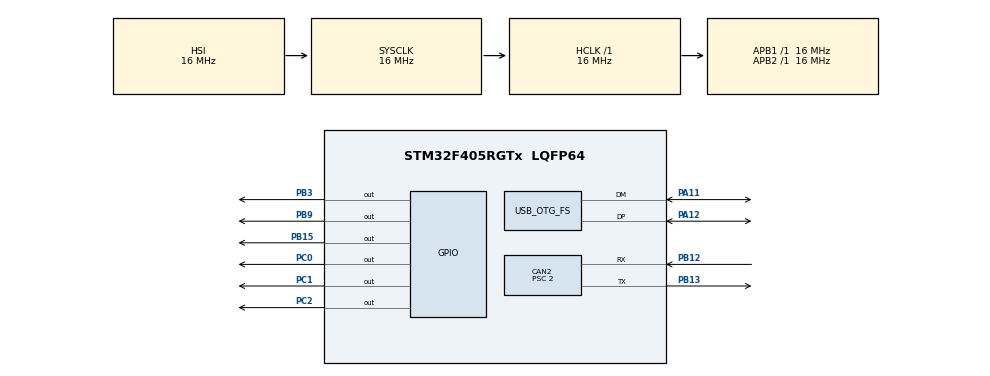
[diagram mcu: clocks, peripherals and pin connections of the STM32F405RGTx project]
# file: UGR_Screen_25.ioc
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CAN2.BS1=CAN_BS1_13TQ
CAN2.BS2=CAN_BS2_2TQ
CAN2.CalculateBaudRate=500000
CAN2.CalculateTimeBit=2000
CAN2.CalculateTimeQuantum=125.0
CAN2.Mode=CAN_MODE_LOOPBACK
CAN2.NART=ENABLE
CAN2.Prescaler=2
Mcu.Family=STM32F4
Mcu.Name=STM32F405RGTx
Mcu.Package=LQFP64
NVIC.CAN2_RX0_IRQn=true\:0\:0\:false\:false\:true\:true\:true\:true
NVIC.CAN2_RX1_IRQn=true\:0\:0\:false\:false\:true\:true\:true\:true
NVIC.CAN2_TX_IRQn=true\:0\:0\:false\:false\:true\:true\:true\:true
NVIC.PriorityGroup=NVIC_PRIORITYGROUP_4
PA11.Mode=Host_Only
PA11.Signal=USB_OTG_FS_DM
PA12.Mode=Host_Only
PA12.Signal=USB_OTG_FS_DP
PA13.Mode=Serial_Wire
PA13.Signal=SYS_JTMS-SWDIO
PA14.Mode=Serial_Wire
PA14.Signal=SYS_JTCK-SWCLK
PB12.GPIO_PuPd=GPIO_NOPULL
PB12.Mode=CAN_Activate
PB12.Signal=CAN2_RX
PB13.Mode=CAN_Activate
PB13.Signal=CAN2_TX
PB15.Signal=GPIO_Output
PB3.Signal=GPIO_Output
PB9.Signal=GPIO_Output
PC0.Signal=GPIO_Output
PC1.Signal=GPIO_Output
PC2.Signal=GPIO_Output
PH0-OSC_IN.Mode=HSE-External-Oscillator
PH0-OSC_IN.Signal=RCC_OSC_IN
PH1-OSC_OUT.Mode=HSE-External-Oscillator
PH1-OSC_OUT.Signal=RCC_OSC_OUT
ProjectManager.HeapSize=0x200
ProjectManager.StackSize=0x400
ProjectManager.TargetToolchain=CMake
RCC.48MHZClocksFreq_Value=48000000
RCC.AHBFreq_Value=16000000
RCC.APB1Freq_Value=16000000
RCC.APB2Freq_Value=16000000
RCC.CortexFreq_Value=16000000
RCC.HSE_VALUE=25000000
RCC.HSI_VALUE=16000000
RCC.LSE_VALUE=32768
RCC.PLLM=15
RCC.PLLN=144
RCC.PLLQ=5
RCC.SYSCLKFreq_VALUE=16000000
RCC.VCOOutputFreq_Value=240000000
USB_OTG_FS.VirtualMode=Host_Only
USB_OTG_FS.phy_itface=HCD_PHY_EMBEDDED
VP_TIM1_VS_ClockSourceINT.Mode=Internal
VP_TIM2_VS_ClockSourceINT.Mode=Internal
board=custom

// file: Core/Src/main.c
/* USER CODE BEGIN Header */
/**
  ******************************************************************************
  * @file           : main.c
  * @brief          : Main program body
  ******************************************************************************
  * @attention
  *
  * Copyright (c) 2025 STMicroelectronics.
  * All rights reserved.
  *
  * This software is licensed under terms that can be found in the LICENSE file
  * in the root directory of this software component.
  * If no LICENSE file comes with this software, it is provided AS-IS.
  *
  ******************************************************************************
  */
/* USER CODE END Header */
#include "main.h"

/* USER CODE BEGIN Includes */
#include "LCD_2inch4.c"
#include "GUI_Paint.c"
#include <stdio.h>
#include <stdlib.h>
#include <time.h>
#include <math.h>
#include "core_cm4.h"
/* USER CODE END Includes */

CAN_HandleTypeDef hcan2;

TIM_HandleTypeDef htim1;
TIM_HandleTypeDef htim2;

HCD_HandleTypeDef hhcd_USB_OTG_FS;

void SystemClock_Config(void);
static void MX_GPIO_Init(void);
static void MX_USB_OTG_FS_HCD_Init(void);
static void MX_TIM1_Init(void);
static void MX_TIM2_Init(void);
static void MX_CAN2_Init(void);

/* USER CODE BEGIN 0 */

//THIS IS ALL THE CAN STUFF FOR CAN RX
int charge = 69, cell_tmp = 22, water_tmp = 33, speed = 255;
int temp = 30;

CAN_RxHeaderTypeDef   RxHeader;
uint8_t               RxData[8];

//THIS IS ALL THE CAN STUFF FOR CAN TX
/*
CAN_TxHeaderTypeDef TxHeader;
uint8_t TxData[8] = {0, 0, 0, 0, 0, 0, 0, 0};  // Example data
uint32_t TxMailbox;

void Send_CAN_Message(CAN_HandleTypeDef *hcan)
{
    TxHeader.StdId = 0x123;          // Standard ID
    TxHeader.IDE   = CAN_ID_STD;     // Standard Identifier
    TxHeader.RTR   = CAN_RTR_DATA;   // Data frame
    TxHeader.DLC   = 8;              // Data length (8 bytes)
    TxHeader.TransmitGlobalTime = DISABLE;
    TxData[0] = speed+1;
    TxData[1] = charge+1;
    TxData[2] = water_tmp+1;
    TxData[3] = cell_tmp+1;
    if (HAL_CAN_AddTxMessage(hcan, &TxHeader, TxData, &TxMailbox) != HAL_OK)
    {
        Error_Handler();
        Display_Corner_Numbers(8,8,8);
    } else {
      temp += 1;
    }

}
*/

void HAL_CAN_RxFifo0MsgPendingCallback(CAN_HandleTypeDef *hcan)
{
    if (HAL_CAN_GetRxMessage(hcan, CAN_RX_FIFO0, &RxHeader, RxData) != HAL_OK)
    {
        Error_Handler();
        Display_Corner_Numbers(1,1,1);
    }

    // Extract received values
    speed     = RxData[0];
    charge    = RxData[1];
    water_tmp = RxData[2];
    cell_tmp  = RxData[3];

}

/* USER CODE END 0 */

int main(void)
{

  /* MCU Configuration--------------------------------------------------------*/

  /* Reset of all peripherals, Initializes the Flash interface and the Systick. */
  HAL_Init();

  /* USER CODE BEGIN Init */
  __HAL_FLASH_PREFETCH_BUFFER_ENABLE();
  /* USER CODE END Init */

  /* Configure the system clock */
  SystemClock_Config();

  /* Initialize all configured peripherals */
  MX_GPIO_Init();
  MX_USB_OTG_FS_HCD_Init();
  MX_TIM1_Init();
  MX_TIM2_Init();
  MX_CAN2_Init();
  HAL_NVIC_SetPriority(CAN2_RX0_IRQn, 0, 0);
  HAL_NVIC_EnableIRQ(CAN2_RX0_IRQn);

  /* USER CODE BEGIN 2 */

  if (HAL_CAN_ActivateNotification(&hcan2, CAN_IT_RX_FIFO0_MSG_PENDING) != HAL_OK)
  {
      printf("CAN Notification Activation Failed\n");
      Error_Handler();
  }

  // Start CAN
  if (HAL_CAN_Start(&hcan2) != HAL_OK)
  {
      printf("CAN Start Failed\n");
      Error_Handler();
  }

  /* USER CODE END 2 */

  /* Infinite loop */
  /* USER CODE BEGIN WHILE */
  LCD_2IN4_Init();

  LCD_2IN4_Clear(BLACK);

    Paint_NewImage(LCD_2IN4_WIDTH,LCD_2IN4_HEIGHT, ROTATE_90, BLACK);

    Paint_SetClearFuntion(LCD_2IN4_Clear);
    Paint_SetDisplayFuntion(LCD_2IN4_DrawPaint);

    Paint_SetRotate(ROTATE_90);

    UGR_LOGO();

    Display_Corner_Words();

    //Generate random values for test purposes:
    srand(time(0));

    Display_Corner_Speed(speed);
    Display_Corner_Numbers(charge, cell_tmp, water_tmp);

    //NEED TO ENABLE INTERRUPTS OTHERWISE CAN IS A PIECE OF ABSOLUTE DOGSHIT
    __enable_irq();

  while (1)
  {

	  //Send_CAN_Message(&hcan2);
    for(int i = 0; i < 4; i++) {
      DEV_Delay_ms(1000);
      Display_Corner_Speed(speed);
    }
    Display_Corner_Numbers(charge, cell_tmp, water_tmp);

  }
  /* USER CODE END 3 */
}

void SystemClock_Config(void)
{
  RCC_OscInitTypeDef RCC_OscInitStruct = {0};
  RCC_ClkInitTypeDef RCC_ClkInitStruct = {0};

  /** Configure the main internal regulator output voltage
  */
  __HAL_RCC_PWR_CLK_ENABLE();
  __HAL_PWR_VOLTAGESCALING_CONFIG(PWR_REGULATOR_VOLTAGE_SCALE1);

  /** Initializes the RCC Oscillators according to the specified parameters
  * in the RCC_OscInitTypeDef structure.
  */
  RCC_OscInitStruct.OscillatorType = RCC_OSCILLATORTYPE_HSI|RCC_OSCILLATORTYPE_HSE;
  RCC_OscInitStruct.HSEState = RCC_HSE_ON;
  RCC_OscInitStruct.HSIState = RCC_HSI_ON;
  RCC_OscInitStruct.HSICalibrationValue = RCC_HSICALIBRATION_DEFAULT;
  RCC_OscInitStruct.PLL.PLLState = RCC_PLL_ON;
  RCC_OscInitStruct.PLL.PLLSource = RCC_PLLSOURCE_HSE;
  RCC_OscInitStruct.PLL.PLLM = 15;
  RCC_OscInitStruct.PLL.PLLN = 144;
  RCC_OscInitStruct.PLL.PLLP = RCC_PLLP_DIV2;
  RCC_OscInitStruct.PLL.PLLQ = 5;
  if (HAL_RCC_OscConfig(&RCC_OscInitStruct) != HAL_OK)
  {
    Error_Handler();
  }

  /** Initializes the CPU, AHB and APB buses clocks
  */
  RCC_ClkInitStruct.ClockType = RCC_CLOCKTYPE_HCLK|RCC_CLOCKTYPE_SYSCLK
                              |RCC_CLOCKTYPE_PCLK1|RCC_CLOCKTYPE_PCLK2;
  RCC_ClkInitStruct.SYSCLKSource = RCC_SYSCLKSOURCE_HSI;
  RCC_ClkInitStruct.AHBCLKDivider = RCC_SYSCLK_DIV1;
  RCC_ClkInitStruct.APB1CLKDivider = RCC_HCLK_DIV1;
  RCC_ClkInitStruct.APB2CLKDivider = RCC_HCLK_DIV1;

  if (HAL_RCC_ClockConfig(&RCC_ClkInitStruct, FLASH_LATENCY_0) != HAL_OK)
  {
    Error_Handler();
  }
}

static void MX_CAN2_Init(void)
{

  __HAL_RCC_CAN1_CLK_ENABLE();
  __HAL_RCC_CAN2_CLK_ENABLE();
  hcan2.Instance = CAN2;
  hcan2.Init.Prescaler = 2;
  hcan2.Init.Mode = CAN_MODE_NORMAL;
  hcan2.Init.SyncJumpWidth = CAN_SJW_1TQ;
  hcan2.Init.TimeSeg1 = CAN_BS1_13TQ;
  hcan2.Init.TimeSeg2 = CAN_BS2_2TQ;
  hcan2.Init.TimeTriggeredMode = DISABLE;
  hcan2.Init.AutoBusOff = DISABLE;
  hcan2.Init.AutoWakeUp = DISABLE;
  hcan2.Init.AutoRetransmission = ENABLE;
  hcan2.Init.ReceiveFifoLocked = DISABLE;
  hcan2.Init.TransmitFifoPriority = DISABLE;
  if (HAL_CAN_Init(&hcan2) != HAL_OK)
  {
    Error_Handler();
  }
  /* USER CODE BEGIN CAN2_Init 2 */
  CAN_FilterTypeDef sFilterConfig;
  sFilterConfig.FilterBank = 14;  // Use the first bank for simplicity
  sFilterConfig.FilterMode = CAN_FILTERMODE_IDMASK;
  sFilterConfig.FilterScale = CAN_FILTERSCALE_32BIT;
  // Accept IDs
  sFilterConfig.FilterIdHigh = 0x900 << 5;
  sFilterConfig.FilterIdLow = 0x0000;
  sFilterConfig.FilterMaskIdHigh = 0x900 << 5;
  sFilterConfig.FilterMaskIdLow = 0x0000;
  sFilterConfig.FilterFIFOAssignment = CAN_RX_FIFO0;
  sFilterConfig.FilterActivation = ENABLE;
  sFilterConfig.SlaveStartFilterBank = 28;  // (if using CAN2 with a shared filter bank)

  if (HAL_CAN_ConfigFilter(&hcan2, &sFilterConfig) != HAL_OK) {
      Error_Handler();
  }

  /* USER CODE END CAN2_Init 2 */

}

static void MX_TIM1_Init(void)
{

  TIM_ClockConfigTypeDef sClockSourceConfig = {0};
  TIM_MasterConfigTypeDef sMasterConfig = {0};

  htim1.Instance = TIM1;
  htim1.Init.Prescaler = 0;
  htim1.Init.CounterMode = TIM_COUNTERMODE_UP;
  htim1.Init.Period = 65535;
  htim1.Init.ClockDivision = TIM_CLOCKDIVISION_DIV1;
  htim1.Init.RepetitionCounter = 0;
  htim1.Init.AutoReloadPreload = TIM_AUTORELOAD_PRELOAD_DISABLE;
  if (HAL_TIM_Base_Init(&htim1) != HAL_OK)
  {
    Error_Handler();
  }
  sClockSourceConfig.ClockSource = TIM_CLOCKSOURCE_INTERNAL;
  if (HAL_TIM_ConfigClockSource(&htim1, &sClockSourceConfig) != HAL_OK)
  {
    Error_Handler();
  }
  sMasterConfig.MasterOutputTrigger = TIM_TRGO_RESET;
  sMasterConfig.MasterSlaveMode = TIM_MASTERSLAVEMODE_DISABLE;
  if (HAL_TIMEx_MasterConfigSynchronization(&htim1, &sMasterConfig) != HAL_OK)
  {
    Error_Handler();
  }

}

static void MX_TIM2_Init(void)
{

  TIM_ClockConfigTypeDef sClockSourceConfig = {0};
  TIM_MasterConfigTypeDef sMasterConfig = {0};

  htim2.Instance = TIM2;
  htim2.Init.Prescaler = 0;
  htim2.Init.CounterMode = TIM_COUNTERMODE_UP;
  htim2.Init.Period = 4294967295;
  htim2.Init.ClockDivision = TIM_CLOCKDIVISION_DIV1;
  htim2.Init.AutoReloadPreload = TIM_AUTORELOAD_PRELOAD_DISABLE;
  if (HAL_TIM_Base_Init(&htim2) != HAL_OK)
  {
    Error_Handler();
  }
  sClockSourceConfig.ClockSource = TIM_CLOCKSOURCE_INTERNAL;
  if (HAL_TIM_ConfigClockSource(&htim2, &sClockSourceConfig) != HAL_OK)
  {
    Error_Handler();
  }
  sMasterConfig.MasterOutputTrigger = TIM_TRGO_RESET;
  sMasterConfig.MasterSlaveMode = TIM_MASTERSLAVEMODE_DISABLE;
  if (HAL_TIMEx_MasterConfigSynchronization(&htim2, &sMasterConfig) != HAL_OK)
  {
    Error_Handler();
  }

}

static void MX_USB_OTG_FS_HCD_Init(void)
{

  hhcd_USB_OTG_FS.Instance = USB_OTG_FS;
  hhcd_USB_OTG_FS.Init.Host_channels = 8;
  hhcd_USB_OTG_FS.Init.speed = HCD_SPEED_FULL;
  hhcd_USB_OTG_FS.Init.dma_enable = DISABLE;
  hhcd_USB_OTG_FS.Init.phy_itface = HCD_PHY_EMBEDDED;
  hhcd_USB_OTG_FS.Init.Sof_enable = DISABLE;
  if (HAL_HCD_Init(&hhcd_USB_OTG_FS) != HAL_OK)
  {
    Error_Handler();
  }

}

static void MX_GPIO_Init(void)
{
  GPIO_InitTypeDef GPIO_InitStruct = {0};

  /* GPIO Ports Clock Enable */
  __HAL_RCC_GPIOH_CLK_ENABLE();
  __HAL_RCC_GPIOC_CLK_ENABLE();
  __HAL_RCC_GPIOB_CLK_ENABLE();
  __HAL_RCC_GPIOA_CLK_ENABLE();

  /*Configure GPIO pin Output Level */
  HAL_GPIO_WritePin(GPIOC, GPIO_PIN_0|GPIO_PIN_1|GPIO_PIN_2, GPIO_PIN_RESET);

  /*Configure GPIO pin Output Level */
  HAL_GPIO_WritePin(GPIOB, GPIO_PIN_15|GPIO_PIN_3|GPIO_PIN_9, GPIO_PIN_RESET);

  /*Configure GPIO pins : PC0 PC1 PC2 */
  GPIO_InitStruct.Pin = GPIO_PIN_0|GPIO_PIN_1|GPIO_PIN_2;
  GPIO_InitStruct.Mode = GPIO_MODE_OUTPUT_PP;
  GPIO_InitStruct.Pull = GPIO_NOPULL;
  GPIO_InitStruct.Speed = GPIO_SPEED_FREQ_LOW;
  HAL_GPIO_Init(GPIOC, &GPIO_InitStruct);

  /*Configure GPIO pins : PB15 PB3 PB9 */
  GPIO_InitStruct.Pin = GPIO_PIN_15|GPIO_PIN_3|GPIO_PIN_9;
  GPIO_InitStruct.Mode = GPIO_MODE_OUTPUT_PP;
  GPIO_InitStruct.Pull = GPIO_NOPULL;
  GPIO_InitStruct.Speed = GPIO_SPEED_FREQ_LOW;
  HAL_GPIO_Init(GPIOB, &GPIO_InitStruct);

}

void Error_Handler(void)
{
  /* USER CODE BEGIN Error_Handler_Debug */
  /* User can add his own implementation to report the HAL error return state */
  //__disable_irq();
  Display_Corner_Speed(0);
  DEV_Delay_ms(1000);
  NVIC_SystemReset();

  /* USER CODE END Error_Handler_Debug */
}
